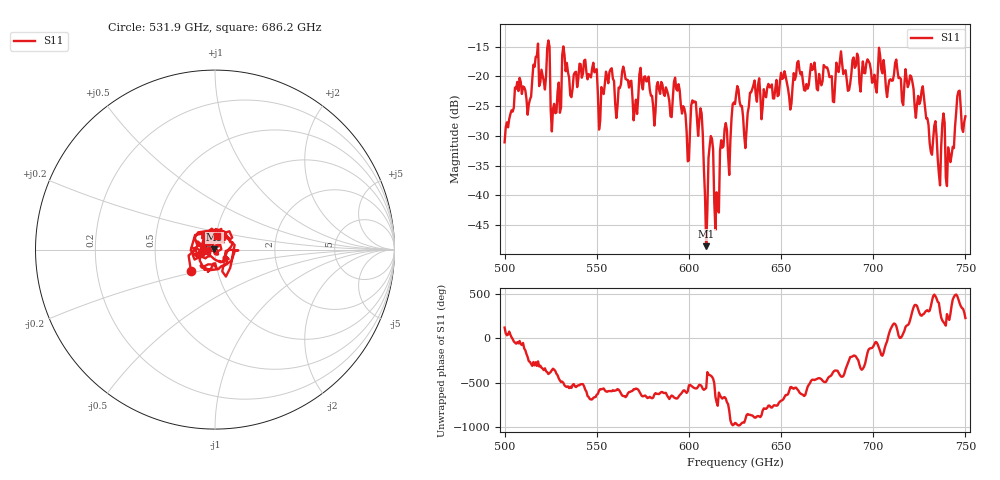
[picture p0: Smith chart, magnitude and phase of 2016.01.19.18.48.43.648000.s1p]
!Created with skrf (http://scikit-rf.org).
# GHz S RI R 50.0
!freq ReS11 ImS11
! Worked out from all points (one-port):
!   401 points, 500 GHz to 750 GHz, reference 50 ohm
!   lowest |S11| = -48.5 dB at 609.4 GHz (marker M1), VSWR 1.01, Z = 49.6 + j0.114 ohm
!   |S11| at or under -10 dB: start of sweep to end of sweep
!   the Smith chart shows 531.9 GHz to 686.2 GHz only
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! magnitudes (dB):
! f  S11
! 500 GHz  -31.1
! 506.9 GHz  -20.9
! 513.1 GHz  -24.7
! 516.9 GHz  -16.7
! 523.1 GHz  -15.3
! 526.2 GHz  -25.5
! 531.2 GHz  -16.4
! 562.5 GHz  -22.0
! 593.8 GHz  -22.4
! 599.4 GHz  -34.3
! 602.5 GHz  -24.4
! 606.2 GHz  -25.4
! 609.4 GHz  -48.5
! 611.9 GHz  -30.0
! 615 GHz  -39.5
! 618.1 GHz  -32.0
! 621.9 GHz  -36.6
! 625 GHz  -24.7
! 630.6 GHz  -32.1
! 634.4 GHz  -22.1
! 656.2 GHz  -21.7
! 687.5 GHz  -21.2
! 718.8 GHz  -21.8
! 735.6 GHz  -36.4
! 738.1 GHz  -26.2
! 740.6 GHz  -31.9
! 746.2 GHz  -22.5
! 750 GHz  -26.7
